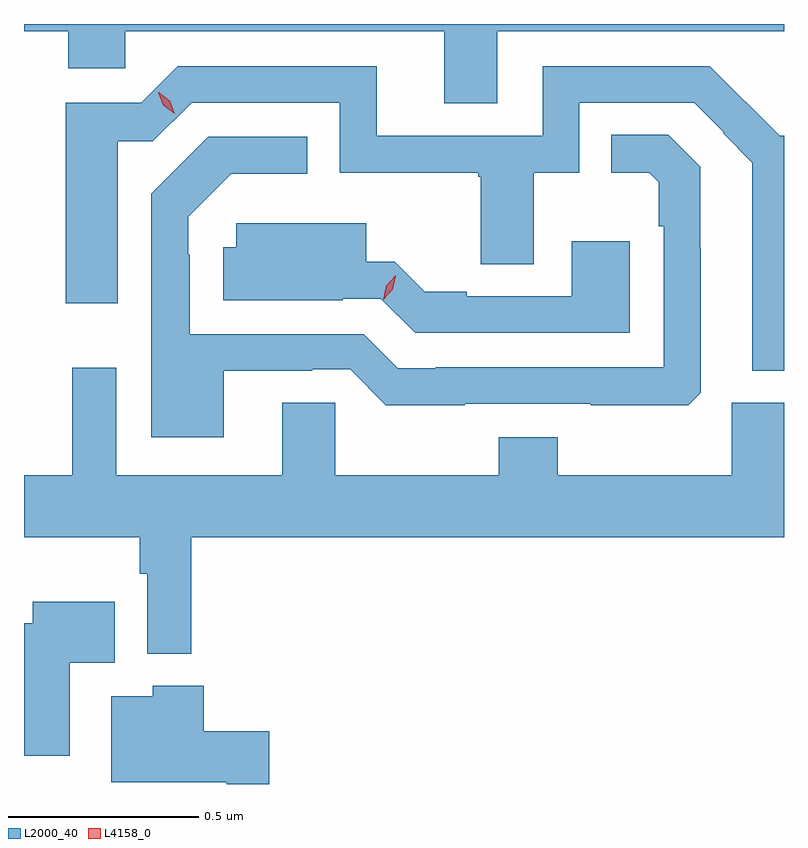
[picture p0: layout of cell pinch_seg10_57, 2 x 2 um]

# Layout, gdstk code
import gdstk
lib = gdstk.Library(unit=1e-6, precision=1e-09)
def P(c, l, *ps):  # polygons
    for p in ps: c.add(gdstk.Polygon(p, *l))
L2000_40 = (2000, 40)
L4158_0 = (4158, 0)

pinch_seg10_57 = lib.new_cell('pinch_seg10_57')
P(pinch_seg10_57, L2000_40, [(841.819,1305.644),(842.573,1305.644),(842.573,1305.663),(840.573,1305.663),(840.573,1305.644),(840.689,1305.644),(840.689,1305.546),(840.84,1305.546),(840.84,1305.644),(841.679,1305.644),(841.679,1305.454),(841.819,1305.454)],
  [(842.573,1305.369),(842.562,1305.369),(842.474,1305.457),(842.473,1305.456),(842.377,1305.552),(841.938,1305.552),(841.938,1305.369),(841.501,1305.369),(841.501,1305.552),(840.978,1305.552),(840.882,1305.456),(840.683,1305.456),(840.683,1304.928),(840.82,1304.928),(840.82,1305.354),(840.912,1305.354),(841.014,1305.456),(841.404,1305.456),(841.404,1305.272),(841.507,1305.272),(841.507,1305.271),(841.768,1305.271),(841.768,1305.261),(841.775,1305.261),(841.775,1305.031),(841.915,1305.031),(841.915,1305.272),(842.034,1305.272),(842.034,1305.456),(842.337,1305.456),(842.415,1305.378),(842.413,1305.375),(842.489,1305.298),(842.489,1304.751),(842.573,1304.751)],
  [(841.099,1304.751),(841.331,1304.751),(841.331,1304.754),(841.431,1304.754),(841.525,1304.66),(841.733,1304.66),(841.733,1304.664),(842.065,1304.664),(842.065,1304.66),(842.321,1304.66),(842.354,1304.693),(842.354,1305.073),(842.352,1305.073),(842.352,1305.288),(842.269,1305.371),(842.119,1305.371),(842.119,1305.272),(842.219,1305.272),(842.244,1305.246),(842.244,1305.131),(842.256,1305.131),(842.256,1304.76),(841.657,1304.76),(841.657,1304.757),(841.557,1304.757),(841.467,1304.847),(841.009,1304.847),(841.009,1305.056),(841.005,1305.056),(841.005,1305.156),(841.118,1305.269),(841.318,1305.269),(841.318,1305.366),(841.058,1305.366),(840.908,1305.216),(840.908,1304.576),(841.099,1304.576)],
  [(842.167,1305.091),(842.015,1305.091),(842.015,1304.946),(841.738,1304.946),(841.738,1304.958),(841.628,1304.958),(841.548,1305.038),(841.474,1305.038),(841.474,1305.139),(841.131,1305.139),(841.131,1305.076),(841.097,1305.076),(841.097,1304.936),(841.412,1304.936),(841.412,1304.94),(841.512,1304.94),(841.602,1304.85),(842.167,1304.85)],
  [(841.013,1304.312),(842.573,1304.312),(842.573,1304.666),(842.435,1304.666),(842.435,1304.476),(841.977,1304.476),(841.977,1304.575),(841.822,1304.575),(841.822,1304.476),(841.392,1304.476),(841.392,1304.666),(841.253,1304.666),(841.253,1304.476),(840.816,1304.476),(840.816,1304.758),(840.7,1304.758),(840.7,1304.476),(840.573,1304.476),(840.573,1304.312),(840.877,1304.312),(840.877,1304.216),(840.897,1304.216),(840.897,1304.006),(841.013,1304.006)],
  [(840.694,1303.982),(840.812,1303.982),(840.812,1304.143),(840.596,1304.143),(840.596,1304.086),(840.573,1304.086),(840.573,1303.738),(840.694,1303.738)],
  [(841.219,1303.802),(841.046,1303.802),(841.046,1303.921),(840.912,1303.921),(840.912,1303.894),(840.803,1303.894),(840.803,1303.667),(841.106,1303.667),(841.106,1303.663),(841.219,1303.663)])
P(pinch_seg10_57, L4158_0, [(841.518,1304.937),(841.526,1304.974),(841.55,1305.001),(841.551,1305.001),(841.551,1305.001),(841.544,1304.965),(841.519,1304.937),(841.519,1304.937)],
  [(840.97,1305.427),(840.94,1305.449),(840.926,1305.483),(840.926,1305.483),(840.927,1305.483),(840.956,1305.461),(840.97,1305.427),(840.97,1305.427)])

lib.write_gds('pinch_seg10_57.gds')
